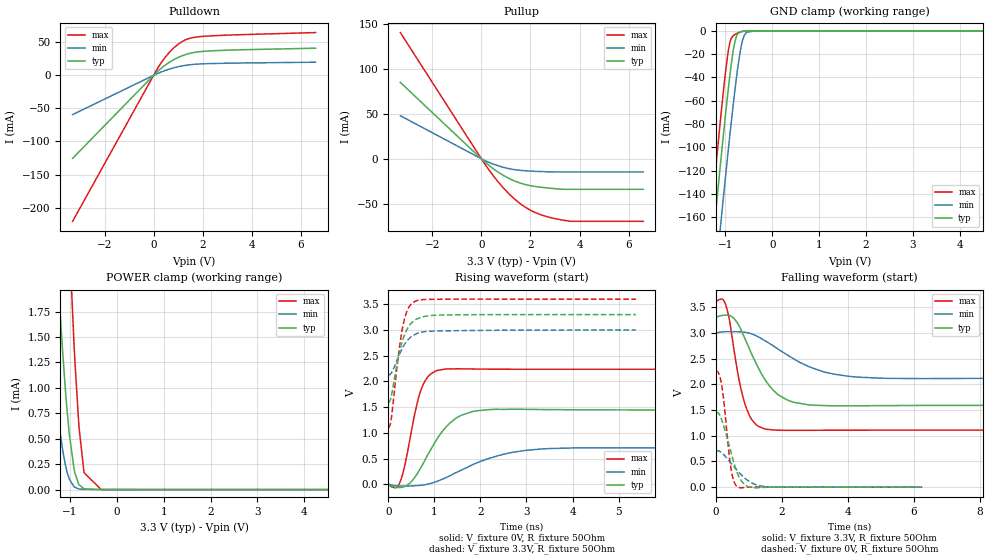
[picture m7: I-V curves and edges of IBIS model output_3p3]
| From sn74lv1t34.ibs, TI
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|   output_3p3 Model
[Model]   output_3p3
Model_type   3-state
Polarity   Non-Inverting
Vmeas = 1.65
Vref = 0
Cref = 50pF
Rref = 150
|   typ   min   max
|   (nom PVT)   (fast PVT)   (slow PVT)
C_comp   3.211e-12   3.100e-12   3.305e-12
| Where nom  PVT is Nominal Process, 3.3V, 40C
|   Fast PVT is Strong Process,  3.6V, -40C
|   Slow PVT is Weak Process,   3V, 140C
[Voltage Range]   3.3   3   3.6
|Junction Temperature
[Temperature Range]   40   140   -40
[Pullup Reference]   3.3   3   3.6
[Pulldown Reference]   0   0   0
[Power Clamp Reference]   3.3   3   3.6
[GND Clamp Reference]   0   0   0
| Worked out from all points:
|   slope of the pulldown table from 0 to 0.495 V, typ, clamps not added: 30.8 ohm
|   slope of the pullup table from 0 to 0.495 V, typ, clamps not added: 44.1 ohm
|   GND clamp passes 1 mA (typ) near -0.68 V on its own axis
|   POWER clamp passes 1 mA (typ) near -1.10 V on its own axis
|   falling waveform, V_fixture 3.3V, R_fixture 50Ohm: 20-80 % time 841ps typ, 1.48ns min, 438ps max; typ from 3.3 V to 1.59 V
|   rising waveform, V_fixture 0V, R_fixture 50Ohm: 20-80 % time 615ps typ, 1.13ns min, 315ps max; typ from 0 V to 1.45 V
|   rising waveform, V_fixture 3.3V, R_fixture 50Ohm: 20-80 % time 266ps typ, 306ps min, 214ps max; typ from 1.59 V to 3.3 V
|   falling waveform, V_fixture 0V, R_fixture 50Ohm: 20-80 % time 388ps typ, 609ps min, 219ps max; typ from 1.45 V to 0 V
[Pulldown]
|   Voltage   I(typ)   I(min)   I(max)
-3.3V     -125.5mA   -59.36mA   -220.8mA
156mV     5.69mA     2.699mA    10.19mA
458.4mV   15.09mA    7.21mA     26.68mA
634.8mV   19.65mA    9.42mA     34.51mA
1.006V    27.21mA    13.11mA    47.19mA
1.242V    30.72mA    14.81mA    52.73mA
1.445V    32.98mA    15.9mA     55.78mA
1.971V    36.11mA    17.41mA    58.87mA
3.231V    38.35mA    18.52mA    61.15mA
6.6V      41.11mA    19.9mA     64.75mA
[GND Clamp]
|   Voltage   I(typ)   I(min)   I(max)
-3.3V     -1.077A    -1.114A    -1.054A
-1.65V    -345.8mA   -396.9mA   -311.8mA
-1.228V   -165.4mA   -219.1mA   -128mA
-1.097V   -111.7mA   -165.6mA   -73.91mA
-999.9mV  -73.54mA   -127mA     -37mA
-924mV    -45.58mA   -97.6mA    -14.22mA
-884.4mV  -32.26mA   -82.72mA   -7.637mA
-795.3mV  -9.152mA   -51.02mA   -3.205mA
-687mV    -1.037mA   -18.94mA   -1.1mA
-591mV    -239.6uA   -3.513mA   -263.8uA
-330mV    -1.802uA   -6.695uA   -641.1nA
6.6V      0A         0A         0A
[Pullup]
|   Voltage   I(typ)   I(min)   I(max)
-3.3V     85.01mA    47.89mA    140.5mA
201mV     -4.872mA   -2.673mA   -8.194mA
481.8mV   -10.98mA   -5.876mA   -18.76mA
872.4mV   -18.12mA   -9.342mA   -31.73mA
1.251V    -23.54mA   -11.65mA   -42.32mA
1.549V    -26.76mA   -12.8mA    -49.25mA
1.967V    -29.8mA    -13.66mA   -56.83mA
2.395V    -31.61mA   -14.2mA    -62.11mA
3.386V    -34.02mA   -14.71mA   -68.67mA
3.633V    -34.02mA   -14.71mA   -69.64mA
6.6V      -34.02mA   -14.71mA   -69.64mA
[POWER Clamp]
|   Voltage   I(typ)   I(min)   I(max)
-3.3V     35.19mA    19.48mA    61.17mA
-1.529V   4.782mA    2.129mA    11.02mA
-1.36V    3.044mA    1.206mA    7.728mA
-1.29V    2.417mA    885.6uA    6.496mA
-1.205V   1.728mA    553.7uA    5.101mA
-1.092V   966.5uA    237.2uA    3.474mA
-1.011V   547.2uA    104.5uA    2.471mA
-913.2mV  211.9uA    30.43uA    1.453mA
-811.8mV  54.34uA    7.094uA    664.9uA
-697.2mV  8.348uA    1.28uA     166.3uA
-330mV    29.35nA    17.89nA    239nA
6.6V      0A         0A         0A
[Ramp]
R_load = 50
|   typ   min   max
dV/dt_r   0.867306/6.14864e-10   0.420514/1.12614e-09   1.34175/3.15228e-10
dV/dt_f   1.0258/8.40264e-10   0.528639/1.46179e-09   1.49523/4.384e-10
[Falling Waveform]
V_fixture = 3.3V
V_fixture_min = 3V
V_fixture_max = 3.6V
R_fixture = 50Ohm
|   Time   V(typ)   V(min)   V(max)
0s        3.3V       3V         3.6V
200ps     3.34V      3.02V      3.655V
325ps     3.344V     3.024V     3.484V
700ps     3.138V     3.022V     2.092V
925ps     2.822V     3.008V     1.531V
1.15ns    2.496V     2.963V     1.262V
1.425ns   2.154V     2.87V      1.144V
2.225ns   1.678V     2.546V     1.104V
4.05ns    1.582V     2.153V     1.107V
11.88ns   1.59V      2.119V     1.108V
[Rising Waveform]
V_fixture = 0V
V_fixture_min = 0V
V_fixture_max = 0V
R_fixture = 50Ohm
|   Time   V(typ)   V(min)   V(max)
0s        458.5pV    4.244nV    826.8pV
250ps     -63.99mV   -37.99mV   24.69mV
475ps     24.78mV    -35.09mV   892.9mV
700ps     309mV      -21.82mV   1.803V
875ps     597.1mV    4.557mV    2.105V
1.075ns   904.6mV    60.68mV    2.215V
1.525ns   1.313V     247.9mV    2.245V
2.175ns   1.45V      497.8mV    2.238V
3.55ns    1.451V     695.3mV    2.236V
9.2ns     1.446V     700.8mV    2.236V
[Rising Waveform]
V_fixture = 3.3V
V_fixture_min = 3V
V_fixture_max = 3.6V
R_fixture = 50Ohm
|   Time   V(typ)   V(min)   V(max)
0s        1.59V      2.119V     1.108V
50ps      1.647V     2.143V     1.181V
75ps      1.743V     2.174V     1.321V
225ps     2.495V     2.484V     2.528V
325ps     2.835V     2.676V     3.106V
425ps     3.041V     2.804V     3.402V
575ps     3.189V     2.911V     3.554V
775ps     3.262V     2.966V     3.593V
1.225ns   3.293V     2.984V     3.599V
5.375ns   3.3V       3V         3.6V
[Falling Waveform]
V_fixture = 0V
V_fixture_min = 0V
V_fixture_max = 0V
R_fixture = 50Ohm
|   Time   V(typ)   V(min)   V(max)
0s        1.446V     700.9mV    2.236V
75ps      1.439V     704mV      2.225V
150ps     1.353V     680.2mV    2.067V
225ps     1.213V     638.6mV    1.75V
450ps     694.2mV    469.8mV    385.3mV
525ps     514.6mV    412.1mV    149.3mV
650ps     270.9mV    319.5mV    8.038mV
950ps     15.38mV    136.7mV    -2.306mV
1.55ns    -3.486mV   6.528mV    1.018mV
6.25ns    -19.11uV   -123.4uV   2.199uV
